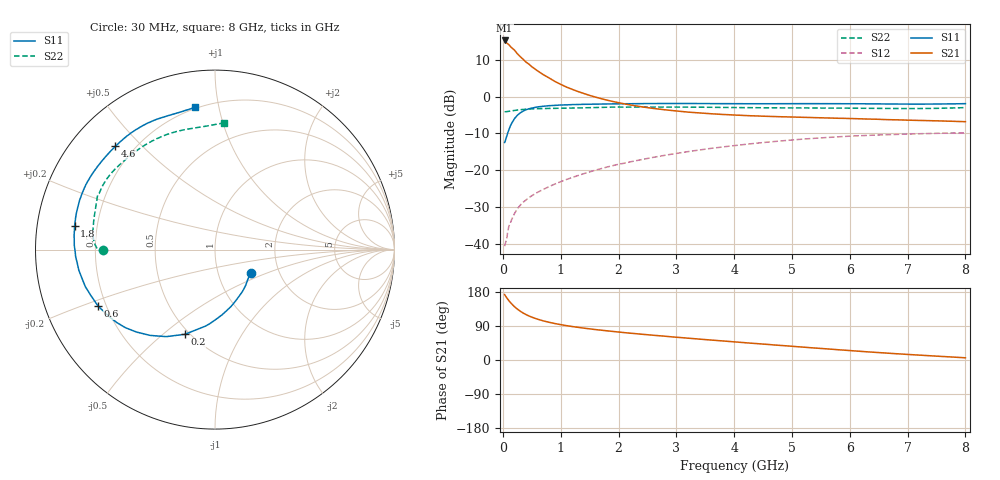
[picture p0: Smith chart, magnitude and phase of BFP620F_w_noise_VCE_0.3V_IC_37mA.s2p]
! Infineon Technologies  Discrete & RF Semiconductors
! BFP620F
! VCE =  0.3 V,  IC =  37 mA
! Common Emitter S-Parameters:  Dec 2014
# GHz  S  MA  R  50
!  f  S11  S21  S12  S22
! GHz  MAG  ANG  MAG  ANG  MAG  ANG  MAG  ANG
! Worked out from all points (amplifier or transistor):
!   95 points, 30 MHz to 8 GHz, reference 50 ohm
!   highest |S21| = 15.2 dB at 30 MHz (marker M1)
!   |S21| within 3 dB of that: start of sweep to 219.8 MHz
!   unconditionally stable (mu >= 1): start of sweep to end of sweep
!   at 300 MHz: K = 1.86, MAG = 14.8 dB, |S12| = -29.5 dB
!   at 3.3 GHz: K = 1.39, MAG = 1.5 dB, |S12| = -14.7 dB
!   at 8 GHz: K = 1.25, MAG = -1.5 dB, |S12| = -9.9 dB
!   lowest NFmin = 1.29 dB at 450 MHz
!   S11 on the Smith chart (normalised r, x): 30 MHz: 1.44, -0.39; 200 MHz: 0.47, -0.59; 600 MHz: 0.17, -0.22; 1.8 GHz: 0.12, +0.08; 4.6 GHz: 0.13, +0.42; 8 GHz: 0.19, +0.85
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0.03  0.2379 -32.8  5.775 172.6  0.0093 32.4  0.6217 -179.7
0.04  0.2467 -42.2  5.483 170.3  0.0099 34.9  0.6216 -179.6
0.05  0.2631 -49.6  5.484 167.8  0.0106 40.5  0.6229 -179.5
0.08  0.3124 -69.4  5.223 161.3  0.014 46.7  0.6268 -179.3
0.11  0.3646 -83.6  5.005 155.3  0.0178 50.1  0.632 -179.2
0.14  0.4151 -94.3  4.69 150.0  0.0201 52.0  0.6367 -179.3
0.2  0.5009 -109.6  4.276 140.7  0.0257 52.7  0.647 -179.7
0.25  0.5561 -119.3  3.818 134.4  0.0299 53.3  0.6556 179.5
0.3  0.5994 -127.1  3.482 128.8  0.0334 53.1  0.6623 178.7
0.4  0.6616 -138.8  2.933 119.9  0.0394 53.1  0.6733 176.9
0.5  0.6974 -147.5  2.544 113.1  0.045 53.5  0.6791 175.1
0.6  0.7233 -154.2  2.233 107.7  0.0501 54.0  0.6837 173.3
0.7  0.7378 -159.8  1.98 103.2  0.0549 54.6  0.687 171.7
0.9  0.7589 -168.1  1.604 96.2  0.0649 55.6  0.6913 168.5
1.4  0.7844 178.3  1.1 84.1  0.0898 56.4  0.7035 161.3
1.8  0.7933 170.5  0.894 77.0  0.1103 55.6  0.7155 156.7
2.7  0.804 157.2  0.676 64.1  0.1542 50.6  0.7201 148.9
4.1  0.7998 139.7  0.557 46.7  0.2199 39.8  0.7077 135.6
4.6  0.7994 134.0  0.538 40.9  0.2413 35.4  0.7037 129.8
5.4  0.8011 125.5  0.517 31.6  0.2713 28.0  0.6992 120.1
6.7  0.7922 111.4  0.485 17.6  0.3041 15.8  0.6887 103.7
8  0.8008 98.0  0.456 5.8  0.3212 5.0  0.7079 86.0
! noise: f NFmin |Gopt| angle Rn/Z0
0.45  1.29  0.13  -172  0.16
0.9  1.32  0.13  -172  0.13
1.5  1.33  0.17  -151  0.11
1.8  1.34  0.18  -151  0.12
1.9  1.35  0.18  -150  0.12
2.4  1.37  0.19  215  0.14
3.5  1.43  0.19  219  0.18
5.5  1.57  0.25  245  0.16
6  1.61  0.26  261  0.18
